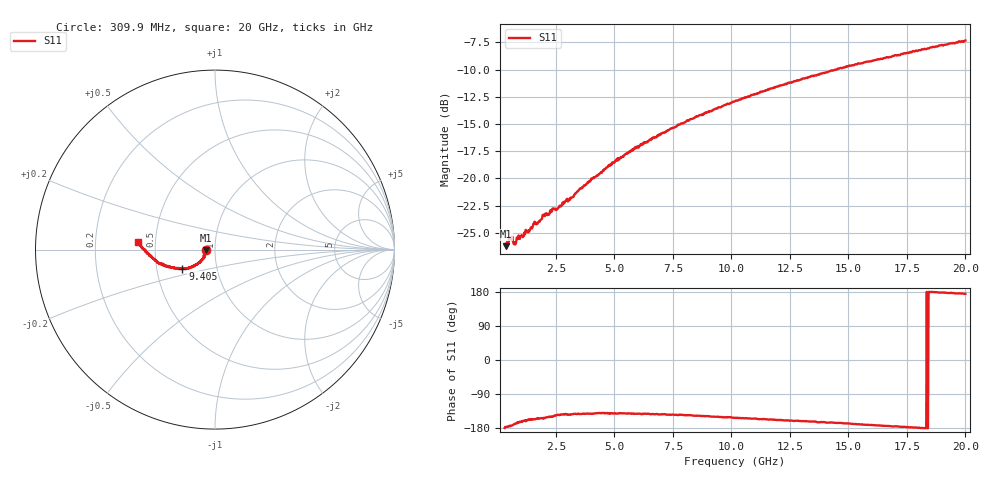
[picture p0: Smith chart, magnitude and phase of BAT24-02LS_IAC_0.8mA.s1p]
! Infineon Technologies  Discrete & RF Semiconductors
! BAT24-02LS
! IAC = 0.8 mA
! One-Port S-Parameters
# Hz  S  MA  R  50
!f  S11
!Hz  Mag  Ang
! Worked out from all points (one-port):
!   789 points, 309.9 MHz to 20 GHz, reference 50 ohm
!   lowest |S11| = -26.2 dB at 359.8 MHz (marker M1), VSWR 1.10, Z = 45.3 - j0.25 ohm
!   |S11| at or under -10 dB: start of sweep to 14.49 GHz
!   S11 on the Smith chart (normalised r, x): 309.9 MHz: 0.91, -0.00; 9.405 GHz: 0.68, -0.15; 20 GHz: 0.40, +0.04
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3.0985e8  0.04966 -179.4
3.59825e8  0.04888 -176.8
5.847125e8  0.05303 -173.2
7.346375e8  0.05103 -169.2
9.0955e8  0.05473 -164.6
1.434288e9  0.05966 -156.4
1.584212e9  0.06331 -157.0
1.734138e9  0.06269 -154.7
2.009e9  0.06862 -152.3
2.158925e9  0.06859 -150.5
2.383812e9  0.07258 -149.1
2.533738e9  0.07199 -145.0
2.783612e9  0.07741 -143.4
2.90855e9  0.07875 -142.6
3.183412e9  0.08183 -143.3
3.458275e9  0.08767 -141.6
4.082962e9  0.1002 -142.2
5.232388e9  0.1243 -140.6
5.932038e9  0.1398 -142.0
7.70615e9  0.1756 -145.5
9.4053e9  0.2098 -149.7
1.015492e10  0.2266 -152.3
1.262869e10  0.278 -160.5
1.352824e10  0.2971 -162.5
1.370315e10  0.3 -164.1
1.507746e10  0.3298 -167.6
1.755122e10  0.3771 -176.8
2e10  0.4305 174.7
